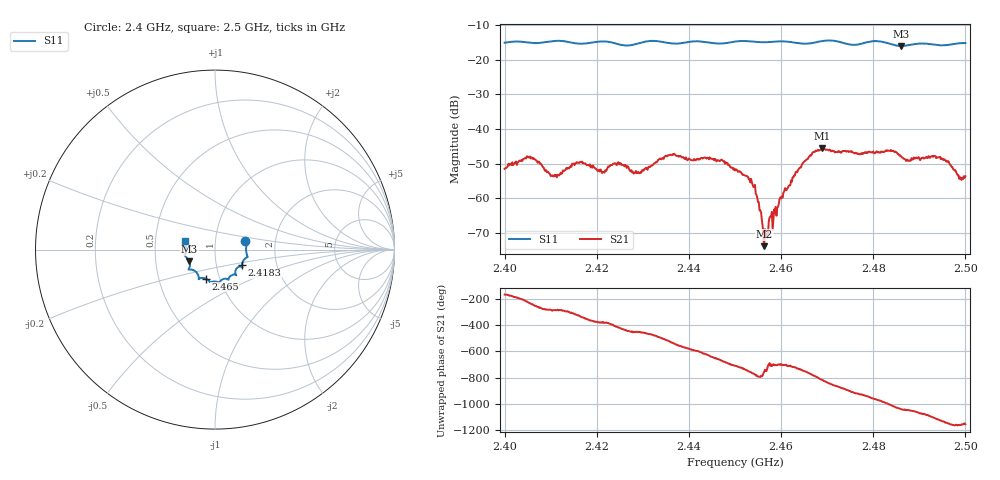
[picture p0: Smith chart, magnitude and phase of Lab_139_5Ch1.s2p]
# Hz S RI R 50
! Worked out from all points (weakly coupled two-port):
!   601 points, 2.4 GHz to 2.5 GHz, reference 50 ohm
!   highest |S21| = -45.54 dB at 2.4688 GHz (marker M1); lowest = -73.8 dB at 2.4563 GHz (marker M2)
!   lowest |S11| = -16.1 dB at 2.486 GHz (marker M3), VSWR 1.37, Z = 37.2 - j4.97 ohm
!   |S11| at or under -10 dB: start of sweep to end of sweep
!   S12 and S22 are empty: the file has one direction only
!   S11 on the Smith chart (normalised r, x): 2.4 GHz: 1.40, +0.14; 2.4183 GHz: 1.33, -0.24; 2.465 GHz: 0.86, -0.28; 2.5 GHz: 0.71, +0.07
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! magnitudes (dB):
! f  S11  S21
! 2.4 GHz  -15.1  -51.5
! 2.4053 GHz  -15.1  -48.2
! 2.4108 GHz  -14.6  -53.2
! 2.4167 GHz  -15.4  -49.6
! 2.4183 GHz  -15.2  -50.5
! 2.4215 GHz  -14.8  -52.4
! 2.425 GHz  -15.7  -49.9
! 2.4292 GHz  -15.3  -52.8
! 2.4333 GHz  -14.7  -48.9
! 2.4445 GHz  -15.1  -48.2
! 2.45 GHz  -14.8  -52.0
! 2.454 GHz  -14.8  -56.8
! 2.4563 GHz  -15.0  -73.8
! 2.4567 GHz  -15.0  -70.8
! 2.4603 GHz  -14.7  -59.8
! 2.465 GHz  -15.4  -49.4
! 2.4667 GHz  -15.2  -47.3
! 2.4688 GHz  -14.7  -45.5
! 2.4833 GHz  -15.3  -46.3
! 2.486 GHz  -16.1  -47.9
! 2.4945 GHz  -15.9  -48.0
! 2.5 GHz  -15.2  -53.6
